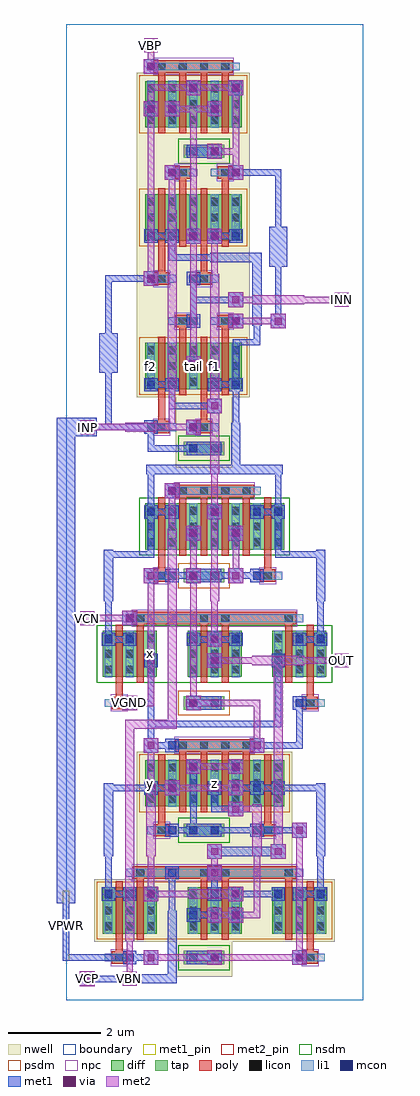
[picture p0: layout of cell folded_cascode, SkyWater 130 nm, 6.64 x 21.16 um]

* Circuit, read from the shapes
.subckt folded_cascode INN INP OUT VBN VBP VCN VCP VGND VPWR f1 f2 tail x y z
XM1 f1 VGND f1 VGND sky130_fd_pr__nfet_01v8 w=1 l=0.15 m=4
XM2 x VCN f1 VGND sky130_fd_pr__nfet_01v8 w=1 l=0.15 m=2
XM3 VGND VBN f1 VGND sky130_fd_pr__nfet_01v8 w=1 l=0.15 m=2
XM4 OUT VCN f2 VGND sky130_fd_pr__nfet_01v8 w=1 l=0.15 m=2
XM5 f2 VBN VGND VGND sky130_fd_pr__nfet_01v8 w=1 l=0.15 m=2
XM6 y VPWR y VPWR sky130_fd_pr__pfet_01v8 w=1 l=0.15 m=4
XM7 x VCP y VPWR sky130_fd_pr__pfet_01v8 w=1 l=0.15 m=2
XM8 f2 VPWR f2 VPWR sky130_fd_pr__pfet_01v8 w=1 l=0.15 m=2
XM9 f1 VPWR f1 VPWR sky130_fd_pr__pfet_01v8 w=1 l=0.15 m=2
XM10 tail VBP VPWR VPWR sky130_fd_pr__pfet_01v8 w=1 l=0.15 m=4
XM11 VPWR x y VPWR sky130_fd_pr__pfet_01v8 w=1 l=0.15 m=2
XM12 tail INN f2 VPWR sky130_fd_pr__pfet_01v8 w=1 l=0.15 m=2
XM13 tail INP f1 VPWR sky130_fd_pr__pfet_01v8 w=1 l=0.15 m=2
XM14 OUT VCP z VPWR sky130_fd_pr__pfet_01v8 w=1 l=0.15 m=2
XM15 z x VPWR VPWR sky130_fd_pr__pfet_01v8 w=1 l=0.15 m=2
.ends

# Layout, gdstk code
import gdstk
lib = gdstk.Library(unit=1e-6, precision=1e-09)
def R(c, l, rs):  # rectangles x0, y0, x1, y1
    for r in rs: c.add(gdstk.rectangle(r[:2], r[2:], *l))
def A(c, l, x, y, w, h, nx, ny, dx, dy):  # array of equal rectangles
    R(c, l, [(x+i*dx, y+j*dy, x+i*dx+w, y+j*dy+h) for i in range(nx) for j in range(ny)])
nwell = (64, 20)
diff = (65, 20)
tap = (65, 44)
poly = (66, 20)
licon = (66, 44)
li1 = (67, 20)
mcon = (67, 44)
met1_pin = (68, 16)
met1 = (68, 20)
via = (68, 44)
met2_pin = (69, 16)
met2 = (69, 20)
nsdm = (93, 44)
psdm = (94, 20)
npc = (95, 20)
boundary = (235, 4)

folded_cascode = lib.new_cell('folded_cascode')
R(folded_cascode, nwell, [(2.375,0.5,3.605,1.26), (0.615,1.26,5.825,2.62), (1.535,2.62,4.905,5.38), (2.375,11.54,3.605,13.065), (1.535,13.065,3.985,20.1)])
A(folded_cascode, diff, 0.795, 1.44, 1.17, 1, 3, 2, 1.84, 5.565)
R(folded_cascode, diff, [(1.715,4.2,4.725,5.2), (1.715,9.765,4.725,10.765), (1.715,13.245,3.805,14.245), (1.715,16.465,3.805,17.465), (1.715,18.92,3.805,19.92)])
A(folded_cascode, tap, 2.555, 0.775, 0.87, 0.29, 1, 5, 0, 2.76)
R(folded_cascode, tap, [(2.555,18.255,3.425,18.545)])
A(folded_cascode, poly, 2.455, 4.07, 0.15, 1.45, 4, 1, 0.46, 0)
A(folded_cascode, poly, 1.905, 9.065, 0.33, 0.27, 1, 3, 0, 3.22)
A(folded_cascode, poly, 2.455, 9.635, 0.15, 1.405, 4, 1, 0.46, 0)
A(folded_cascode, poly, 1.995, 18.79, 0.15, 1.45, 4, 1, 0.46, 0)
R(folded_cascode, poly, [(0.985,0.785,1.315,1.055), (5.125,0.785,5.455,1.055), (1.075,0.92,1.225,2.57), (5.215,0.92,5.365,2.57), (1.535,1.31,1.685,2.76), (2.915,1.31,3.065,2.76), (3.375,1.31,3.525,2.76), (4.755,1.31,4.905,2.76), (1.445,2.625,4.995,2.895), (1.905,3.545,2.235,3.815), (4.205,3.545,4.535,3.815), (1.995,3.68,2.145,5.33), (4.295,3.68,4.445,5.33), (2.365,5.385,4.075,5.655), (0.985,6.305,1.315,6.575), (5.125,6.305,5.455,6.575), (1.075,6.44,1.225,8.135), (5.215,6.44,5.365,8.135), (1.535,6.875,1.685,8.28), (2.915,6.875,3.065,8.28), (3.375,6.875,3.525,8.28), (4.755,6.875,4.905,8.28), (1.445,8.145,4.995,8.415), (4.205,9.065,4.535,9.335), (1.995,9.2,2.145,10.895), (4.295,9.2,4.445,10.895), (2.365,10.905,4.075,11.175), (2.825,12.285,3.155,12.555), (1.995,12.42,2.145,14.375), (2.915,12.42,3.065,14.375), (2.455,13.115,2.605,14.72), (3.375,13.115,3.525,14.72), (2.365,14.585,2.695,14.855), (3.285,14.585,3.615,14.855), (2.825,15.505,3.155,15.775), (1.995,15.64,2.145,17.595), (2.915,15.64,3.065,17.595), (2.455,16.335,2.605,17.94), (3.375,16.335,3.525,17.94), (2.365,17.805,2.695,18.075), (3.285,17.805,3.615,18.075), (1.905,20.105,3.615,20.375)])
A(folded_cascode, licon, 2.675, 0.835, 0.17, 0.17, 1, 5, 0, 2.76)
A(folded_cascode, licon, 3.135, 0.835, 0.17, 0.17, 1, 5, 0, 2.76)
A(folded_cascode, licon, 0.835, 1.515, 0.17, 0.17, 3, 3, 0.46, 0.34)
A(folded_cascode, licon, 2.675, 1.515, 0.17, 0.17, 3, 3, 0.46, 0.34)
A(folded_cascode, licon, 4.515, 1.515, 0.17, 0.17, 3, 3, 0.46, 0.34)
A(folded_cascode, licon, 1.755, 4.275, 0.17, 0.17, 7, 3, 0.46, 0.34)
A(folded_cascode, licon, 2.445, 5.435, 0.17, 0.17, 4, 2, 0.46, 5.52)
A(folded_cascode, licon, 0.835, 7.08, 0.17, 0.17, 3, 3, 0.46, 0.34)
A(folded_cascode, licon, 2.675, 7.08, 0.17, 0.17, 3, 3, 0.46, 0.34)
A(folded_cascode, licon, 4.515, 7.08, 0.17, 0.17, 3, 3, 0.46, 0.34)
A(folded_cascode, licon, 1.985, 9.115, 0.17, 0.17, 1, 3, 0, 3.22)
A(folded_cascode, licon, 1.755, 9.84, 0.17, 0.17, 7, 3, 0.46, 0.34)
A(folded_cascode, licon, 1.755, 13.32, 0.17, 0.17, 5, 3, 0.46, 0.34)
A(folded_cascode, licon, 1.755, 16.54, 0.17, 0.17, 5, 3, 0.46, 0.34)
A(folded_cascode, licon, 1.755, 18.995, 0.17, 0.17, 5, 3, 0.46, 0.34)
A(folded_cascode, licon, 1.985, 20.155, 0.17, 0.17, 4, 1, 0.46, 0)
R(folded_cascode, licon, [(1.065,0.835,1.235,1.005), (5.205,0.835,5.375,1.005), (1.525,2.675,1.695,2.845), (2.905,2.675,3.075,2.845), (3.365,2.675,3.535,2.845), (4.745,2.675,4.915,2.845), (1.985,3.595,2.155,3.765), (4.285,3.595,4.455,3.765), (1.065,6.355,1.235,6.525), (5.205,6.355,5.375,6.525), (1.525,8.195,1.695,8.365), (2.905,8.195,3.075,8.365), (3.365,8.195,3.535,8.365), (4.745,8.195,4.915,8.365), (4.285,9.115,4.455,9.285), (2.905,12.335,3.075,12.505), (2.445,14.635,2.615,14.805), (3.365,14.635,3.535,14.805), (2.905,15.555,3.075,15.725), (2.445,17.855,2.615,18.025), (3.365,17.855,3.535,18.025), (2.675,18.315,2.845,18.485), (3.135,18.315,3.305,18.485)])
A(folded_cascode, li1, 2.595, 0.835, 0.79, 0.17, 1, 5, 0, 2.76)
A(folded_cascode, li1, 0.835, 1.435, 0.17, 1.01, 3, 2, 0.46, 5.565)
A(folded_cascode, li1, 2.675, 1.435, 0.17, 1.01, 3, 2, 0.46, 5.565)
A(folded_cascode, li1, 4.515, 1.435, 0.17, 1.01, 3, 2, 0.46, 5.565)
A(folded_cascode, li1, 1.755, 4.195, 0.17, 1.01, 7, 2, 0.46, 5.565)
A(folded_cascode, li1, 1.755, 9.115, 0.63, 0.17, 1, 3, 0, 3.22)
A(folded_cascode, li1, 1.755, 13.24, 0.17, 1.01, 5, 2, 0.46, 3.22)
A(folded_cascode, li1, 1.755, 18.915, 0.17, 1.01, 5, 1, 0.46, 0)
R(folded_cascode, li1, [(0.835,0.835,1.465,1.005), (4.975,0.835,5.605,1.005), (1.295,2.675,5.145,2.845), (1.755,3.595,2.385,3.765), (4.055,3.595,4.685,3.765), (2.215,5.435,4.225,5.605), (0.835,6.355,1.465,6.525), (4.975,6.355,5.605,6.525), (1.295,8.195,5.145,8.365), (4.055,9.115,4.685,9.285), (2.215,10.955,4.225,11.125), (2.675,12.335,3.305,12.505), (2.215,14.635,2.845,14.805), (3.135,14.635,3.765,14.805), (2.675,15.555,3.305,15.725), (2.215,17.855,2.845,18.025), (3.135,17.855,3.765,18.025), (2.595,18.315,3.385,18.485), (1.755,20.155,3.765,20.325)])
A(folded_cascode, mcon, 0.835, 2.215, 0.17, 0.17, 3, 1, 0.46, 0)
A(folded_cascode, mcon, 4.515, 2.215, 0.17, 0.17, 3, 1, 0.46, 0)
A(folded_cascode, mcon, 2.215, 3.595, 0.17, 0.17, 3, 2, 0.46, 5.52)
A(folded_cascode, mcon, 2.215, 4.515, 0.17, 0.17, 3, 2, 0.92, 5.98)
A(folded_cascode, mcon, 2.675, 4.975, 0.17, 0.17, 1, 3, 0, 1.38)
A(folded_cascode, mcon, 1.755, 7.275, 0.17, 0.17, 3, 1, 1.38, 0)
A(folded_cascode, mcon, 2.675, 13.715, 0.17, 0.17, 1, 3, 0, 0.92)
A(folded_cascode, mcon, 1.755, 16.475, 0.17, 0.17, 5, 1, 0.46, 0)
R(folded_cascode, mcon, [(1.295,0.835,1.465,1.005), (2.675,0.835,2.845,1.005), (3.135,0.835,3.305,1.005), (4.975,0.835,5.145,1.005), (2.675,1.755,2.845,1.925), (3.595,1.755,3.765,1.925), (3.135,2.215,3.305,2.385), (2.215,2.675,2.385,2.845), (4.055,3.595,4.225,3.765), (1.755,4.515,1.925,4.685), (4.515,4.515,4.685,4.685), (3.595,4.975,3.765,5.145), (2.215,5.435,2.385,5.605), (1.295,6.355,1.465,6.525), (3.135,6.355,3.305,6.525), (4.975,6.355,5.145,6.525), (0.835,7.735,1.005,7.905), (1.295,7.735,1.465,7.905), (3.595,7.735,3.765,7.905), (4.975,7.735,5.145,7.905), (5.435,7.735,5.605,7.905), (1.295,8.195,1.465,8.365), (4.055,9.115,4.225,9.285), (2.675,10.035,2.845,10.205), (3.595,10.035,3.765,10.205), (1.755,10.495,1.925,10.665), (4.515,10.495,4.685,10.665), (2.215,10.955,2.385,11.125), (2.675,11.875,2.845,12.045), (3.135,11.875,3.305,12.045), (1.755,12.335,1.925,12.505), (2.675,12.335,2.845,12.505), (1.755,13.255,1.925,13.425), (2.215,13.255,2.385,13.425), (3.135,13.255,3.305,13.425), (3.595,13.255,3.765,13.425), (3.595,14.635,3.765,14.805), (1.755,15.555,1.925,15.725), (2.215,17.855,2.385,18.025), (3.595,17.855,3.765,18.025), (2.675,18.315,2.845,18.485), (3.135,18.315,3.305,18.485), (1.755,19.235,1.925,19.405), (2.215,19.235,2.385,19.405), (3.135,19.235,3.305,19.405), (2.675,19.695,2.845,19.865), (3.595,19.695,3.765,19.865), (1.755,20.155,1.925,20.325)])
R(folded_cascode, met1_pin, [(-0.07,0.85,0.07,2.37), (1.235,6.295,1.525,6.585)])
A(folded_cascode, met1, 3.06, 0.76, 0.32, 0.32, 1, 3, 0, 0.92)
A(folded_cascode, met1, 2.615, 0.775, 0.75, 0.29, 1, 5, 0, 2.76)
A(folded_cascode, met1, 0.775, 2.155, 0.29, 0.29, 3, 1, 0.46, 0)
A(folded_cascode, met1, 4.455, 2.155, 0.29, 0.29, 3, 1, 0.46, 0)
A(folded_cascode, met1, 2.69, 3.61, 0.14, 0.14, 1, 4, 0, 2.76)
A(folded_cascode, met1, 3.52, 3.98, 0.32, 0.32, 1, 3, 0, 0.46)
A(folded_cascode, met1, 2.155, 4.455, 0.29, 0.29, 3, 2, 0.92, 5.98)
A(folded_cascode, met1, 1.695, 7.215, 0.29, 0.29, 3, 1, 1.38, 0)
A(folded_cascode, met1, 2.615, 7.675, 0.29, 0.29, 1, 3, 0, 2.3)
A(folded_cascode, met1, 1.68, 9.04, 0.32, 0.32, 3, 1, 0.92, 0)
A(folded_cascode, met1, 2.615, 13.655, 0.29, 0.29, 1, 3, 0, 0.92)
A(folded_cascode, met1, 1.695, 16.415, 0.29, 0.29, 5, 1, 0.46, 0)
R(folded_cascode, met1, [(0.3,0.3,0.62,0.62), (1.28,0.36,2.4,0.56), (2.2,0.36,2.4,1.94), (0.39,0.39,1.45,0.53), (1.68,0.76,2,1.08), (4.9,0.76,5.22,1.08), (1.235,0.775,1.525,1.065), (4.915,0.775,5.205,1.065), (-0.07,0.85,0.07,2.37), (-0.07,0.85,1.45,0.99), (1.31,0.85,1.91,0.99), (3.15,0.85,3.29,0.99), (3.52,1.68,3.84,2), (2.615,1.695,2.905,1.985), (3.535,1.695,3.825,1.985), (2.23,1.77,2.37,2.83), (2.69,1.77,3.29,1.91), (-0.2,2.1,0.2,12.62), (1.68,2.14,2,2.46), (3.52,2.14,3.84,2.46), (3.075,2.155,3.365,2.445), (0.85,2.23,0.99,3.29), (0.85,2.23,1.45,2.37), (3.15,2.23,3.29,2.83), (3.61,2.23,4.67,2.37), (4.99,2.23,5.59,2.37), (5.45,2.23,5.59,3.29), (2.155,2.615,2.445,2.905), (3.06,3.06,3.38,3.38), (4.44,3.06,4.76,3.38), (0.82,3.12,1.02,4.7), (3.12,3.12,4.7,3.32), (5.42,3.12,5.62,4.7), (4.9,3.52,5.22,3.84), (2.155,3.535,2.445,3.825), (3.995,3.535,4.285,3.825), (2.23,3.61,2.83,3.75), (2.69,3.61,2.83,5.13), (2.69,3.61,4.21,3.75), (4.07,3.61,5.13,3.75), (3.15,4.07,3.75,4.21), (3.15,4.07,3.29,4.67), (2.14,4.44,2.46,4.76), (1.695,4.455,1.985,4.745), (4.455,4.455,4.745,4.745), (0.85,4.53,1.91,4.67), (1.77,4.53,2.37,4.67), (3.61,4.53,4.21,4.67), (4.07,4.53,4.67,4.67), (4.53,4.53,5.59,4.67), (2.6,4.9,2.92,5.22), (2.615,4.915,2.905,5.205), (3.535,4.915,3.825,5.205), (1.68,5.36,2,5.68), (3.98,5.36,4.3,5.68), (2.155,5.375,2.445,5.665), (1.77,5.45,2.37,5.59), (1.77,5.45,1.91,7.43), (4.07,5.45,5.13,5.59), (4.99,5.45,5.13,6.51), (1.77,5.91,4.67,6.05), (4.53,5.91,4.67,7.43), (1.22,6.28,1.54,6.6), (2.6,6.28,2.92,6.6), (1.235,6.295,1.525,6.585), (4.915,6.295,5.205,6.585), (3.06,7.2,3.38,7.52), (3.06,7.66,3.38,7.98), (0.775,7.675,1.065,7.965), (1.235,7.675,1.525,7.965), (3.535,7.675,3.825,7.965), (4.915,7.675,5.205,7.965), (5.375,7.675,5.665,7.965), (0.85,7.75,0.99,8.81), (0.85,7.75,1.45,7.89), (2.69,7.75,3.29,7.89), (3.15,7.75,3.75,7.89), (4.99,7.75,5.59,7.89), (5.45,7.75,5.59,8.81), (1.22,8.12,1.54,8.44), (1.235,8.135,1.525,8.425), (0.82,8.64,1.02,9.76), (5.42,8.64,5.62,9.76), (2.155,9.055,2.445,9.345), (3.995,9.055,4.285,9.345), (1.77,9.13,2.37,9.27), (2.23,9.13,2.83,9.27), (2.69,9.13,4.21,9.27), (0.85,9.59,1.91,9.73), (1.77,9.59,1.91,10.65), (4.53,9.59,4.67,10.65), (4.53,9.59,5.59,9.73), (2.6,9.96,2.92,10.28), (3.52,9.96,3.84,10.28), (3.535,9.975,3.825,10.265), (3.06,10.42,3.38,10.74), (1.695,10.435,1.985,10.725), (4.455,10.435,4.745,10.725), (1.77,10.51,1.91,11.57), (1.77,10.51,2.37,10.65), (4.07,10.51,4.67,10.65), (4.53,10.51,4.67,11.57), (2.14,10.88,2.46,11.2), (2.155,10.895,2.445,11.185), (1.74,11.4,3.78,11.6), (3.58,11.4,4.7,11.6), (3.58,11.4,3.78,12.52), (1.77,11.89,2.83,12.03), (1.77,11.89,1.91,12.49), (-0.2,12.22,0.66,12.62), (2.6,12.26,2.92,12.58), (1.695,12.275,1.985,12.565), (0.39,12.35,1.91,12.49), (0.85,12.35,0.99,13.87), (3.61,12.35,3.75,13.41), (3.06,12.72,3.38,13.04), (2.23,12.81,3.29,12.95), (2.23,12.81,2.37,13.41), (1.695,13.195,1.985,13.485), (2.155,13.195,2.445,13.485), (3.075,13.195,3.365,13.485), (3.535,13.195,3.825,13.485), (1.77,13.27,2.37,13.41), (3.15,13.27,3.75,13.41), (3.61,13.27,3.75,14.33), (0.72,13.6,1.12,14.46), (2.6,13.64,2.92,13.96), (0.85,14.19,0.99,15.71), (3.61,14.19,4.21,14.33), (4.07,14.19,4.21,14.79), (3.52,14.56,3.84,14.88), (4.44,14.56,4.76,14.88), (3.535,14.575,3.825,14.865), (4.04,14.62,4.24,16.2), (2.69,14.65,2.83,15.71), (4.53,14.65,4.67,16.17), (3.52,15.02,3.84,15.34), (2.69,15.11,3.75,15.25), (1.68,15.48,2,15.8), (1.695,15.495,1.985,15.785), (0.85,15.57,1.91,15.71), (4.4,15.9,4.8,16.76), (3.12,16,4.24,16.2), (2.23,16.03,3.29,16.17), (2.23,16.03,2.37,16.63), (2.6,16.4,2.92,16.72), (3.06,16.4,3.38,16.72), (1.77,16.49,2.37,16.63), (3.15,16.49,3.75,16.63), (4.53,16.49,4.67,18.01), (2.14,17.78,2.46,18.1), (3.52,17.78,3.84,18.1), (2.155,17.795,2.445,18.085), (3.535,17.795,3.825,18.085), (3.61,17.87,4.67,18.01), (3.06,18.24,3.38,18.56), (2.615,18.255,3.365,18.545), (3.15,18.33,3.29,18.47), (1.68,19.16,2,19.48), (2.14,19.16,2.46,19.48), (3.06,19.16,3.38,19.48), (1.695,19.175,1.985,19.465), (2.155,19.175,2.445,19.465), (3.075,19.175,3.365,19.465), (2.6,19.62,2.92,19.94), (3.52,19.62,3.84,19.94), (2.615,19.635,2.905,19.925), (3.535,19.635,3.825,19.925), (1.68,20.08,2,20.4), (1.695,20.095,1.985,20.385)])
A(folded_cascode, via, 3.145, 0.845, 0.15, 0.15, 1, 3, 0, 0.92)
A(folded_cascode, via, 3.605, 4.065, 0.15, 0.15, 1, 3, 0, 0.46)
A(folded_cascode, via, 1.765, 9.125, 0.15, 0.15, 3, 1, 0.92, 0)
R(folded_cascode, via, [(0.385,0.385,0.535,0.535), (1.765,0.845,1.915,0.995), (4.985,0.845,5.135,0.995), (3.605,1.765,3.755,1.915), (1.765,2.225,1.915,2.375), (3.605,2.225,3.755,2.375), (3.145,3.145,3.295,3.295), (4.525,3.145,4.675,3.295), (4.985,3.605,5.135,3.755), (2.225,4.525,2.375,4.675), (2.685,4.985,2.835,5.135), (1.765,5.445,1.915,5.595), (4.065,5.445,4.215,5.595), (1.305,6.365,1.455,6.515), (2.685,6.365,2.835,6.515), (3.145,7.285,3.295,7.435), (3.145,7.745,3.295,7.895), (1.305,8.205,1.455,8.355), (2.685,10.045,2.835,10.195), (3.605,10.045,3.755,10.195), (3.145,10.505,3.295,10.655), (2.225,10.965,2.375,11.115), (2.685,12.345,2.835,12.495), (3.145,12.805,3.295,12.955), (2.685,13.725,2.835,13.875), (3.605,14.645,3.755,14.795), (4.525,14.645,4.675,14.795), (3.605,15.105,3.755,15.255), (1.765,15.565,1.915,15.715), (2.685,16.485,2.835,16.635), (3.145,16.485,3.295,16.635), (2.225,17.865,2.375,18.015), (3.605,17.865,3.755,18.015), (3.145,18.325,3.295,18.475), (1.765,19.245,1.915,19.395), (2.225,19.245,2.375,19.395), (3.145,19.245,3.295,19.395), (2.685,19.705,2.835,19.855), (3.605,19.705,3.755,19.855), (1.765,20.165,1.915,20.315)])
R(folded_cascode, met2_pin, [(0.31,0.31,0.61,0.61), (1.23,0.31,1.53,0.61), (5.83,7.21,6.13,7.51), (0.31,8.13,0.61,8.43), (0.31,12.27,0.61,12.57), (5.83,15.03,6.13,15.33), (1.69,20.55,1.99,20.85)])
A(folded_cascode, met2, 3.06, 0.76, 0.32, 0.32, 1, 3, 0, 0.92)
A(folded_cascode, met2, 3.52, 3.98, 0.32, 0.32, 1, 3, 0, 0.46)
A(folded_cascode, met2, 1.68, 9.04, 0.32, 0.32, 3, 1, 0.92, 0)
R(folded_cascode, met2, [(0.3,0.3,0.62,0.62), (0.31,0.31,0.61,0.61), (1.23,0.31,1.53,0.61), (0.39,0.39,0.53,0.53), (1.31,0.39,1.45,1.45), (1.31,0.39,1.45,0.53), (1.68,0.76,2,1.08), (4.9,0.76,5.22,1.08), (1.77,0.85,3.29,0.99), (3.15,0.85,5.13,0.99), (4.99,0.85,5.13,3.75), (1.28,1.28,1.48,6.08), (3.52,1.68,3.84,2), (3.15,1.77,3.75,1.91), (3.61,1.77,4.21,1.91), (4.07,1.77,4.21,3.29), (1.68,2.14,2,2.46), (3.52,2.14,3.84,2.46), (2.66,2.2,3.78,2.4), (1.77,2.23,1.91,3.29), (1.77,2.23,2.83,2.37), (3.15,2.69,3.29,3.29), (3.06,3.06,3.38,3.38), (4.44,3.06,4.76,3.38), (1.74,3.12,1.94,4.7), (4.04,3.12,4.24,4.24), (4.5,3.12,4.7,7.46), (4.9,3.52,5.22,3.84), (3.61,4.07,4.21,4.21), (2.14,4.44,2.46,4.76), (1.77,4.53,1.91,5.59), (2.23,4.53,3.75,4.67), (2.6,4.9,2.92,5.22), (2.69,4.99,3.75,5.13), (1.68,5.36,2,5.68), (3.98,5.36,4.3,5.68), (4.07,5.45,4.21,6.51), (1.28,5.88,2.4,6.08), (2.2,5.88,2.4,10.22), (1.22,6.28,1.54,6.6), (2.6,6.28,2.92,6.6), (1.31,6.37,1.91,6.51), (1.77,6.37,1.91,9.27), (2.69,6.37,4.21,6.51), (2.69,6.37,2.83,9.27), (3.06,7.2,3.38,7.52), (5.83,7.21,6.13,7.51), (4.04,7.26,5.16,7.46), (3.15,7.29,4.21,7.43), (4.99,7.29,6.05,7.43), (5.91,7.29,6.05,7.43), (3.06,7.66,3.38,7.98), (3.15,7.75,3.29,8.81), (1.22,8.12,1.54,8.44), (0.31,8.13,0.61,8.43), (0.39,8.21,1.45,8.35), (0.39,8.21,0.53,8.35), (3.12,8.64,3.32,9.3), (2.69,9.13,2.83,10.19), (3.15,9.13,3.29,10.65), (3.61,9.13,3.75,10.19), (2.6,9.96,2.92,10.28), (3.52,9.96,3.84,10.28), (2.23,10.05,2.37,11.11), (3.06,10.42,3.38,10.74), (3.15,10.51,3.29,11.57), (2.14,10.88,2.46,11.2), (3.12,11.4,3.32,12.98), (2.6,12.26,2.92,12.58), (0.31,12.27,0.61,12.57), (1.28,12.32,1.94,12.52), (0.39,12.35,1.45,12.49), (0.39,12.35,0.53,12.49), (1.77,12.35,2.83,12.49), (2.23,12.35,2.37,13.41), (3.06,12.72,3.38,13.04), (3.12,12.78,3.32,15.74), (2.2,13.24,2.4,17.12), (2.6,13.64,2.92,13.96), (2.69,13.73,2.83,16.63), (3.52,14.56,3.84,14.88), (4.44,14.56,4.76,14.88), (3.61,14.65,4.67,14.79), (3.52,15.02,3.84,15.34), (5.83,15.03,6.13,15.33), (4.04,15.08,5.16,15.28), (3.61,15.11,4.21,15.25), (4.99,15.11,6.05,15.25), (5.91,15.11,6.05,15.25), (1.68,15.48,2,15.8), (1.77,15.57,1.91,19.39), (3.15,15.57,3.29,16.63), (2.6,16.4,2.92,16.72), (3.06,16.4,3.38,16.72), (2.69,16.49,2.83,19.39), (2.23,16.95,2.37,18.01), (2.14,17.78,2.46,18.1), (3.52,17.78,3.84,18.1), (3.61,17.87,3.75,19.85), (3.06,18.24,3.38,18.56), (3.15,18.33,3.75,18.47), (1.68,19.16,2,19.48), (2.14,19.16,2.46,19.48), (3.06,19.16,3.38,19.48), (1.77,19.25,1.91,19.85), (2.23,19.25,2.83,19.39), (2.69,19.25,3.29,19.39), (2.6,19.62,2.92,19.94), (3.52,19.62,3.84,19.94), (1.77,19.71,2.83,19.85), (2.69,19.71,3.75,19.85), (1.68,20.08,2,20.4), (1.77,20.17,1.91,20.77), (1.69,20.55,1.99,20.85), (1.77,20.63,1.91,20.77)])
R(folded_cascode, nsdm, [(2.43,0.65,3.55,1.19), (2.43,3.41,3.55,3.95), (0.67,6.88,5.77,8.13), (1.59,9.64,4.85,10.89), (2.43,11.69,3.55,12.23), (2.43,18.13,3.55,18.67)])
R(folded_cascode, psdm, [(0.67,1.315,5.77,2.565), (1.59,4.075,4.85,5.325), (2.43,6.17,3.55,6.71), (2.43,8.93,3.55,9.47), (1.59,13.12,3.93,14.37), (1.59,16.34,3.93,17.59), (1.59,18.795,3.93,20.045)])
A(folded_cascode, npc, 1.885, 9.015, 0.37, 0.37, 1, 3, 0, 3.22)
R(folded_cascode, npc, [(0.965,0.735,1.335,1.105), (5.105,0.735,5.475,1.105), (1.425,2.575,5.015,2.945), (1.885,3.495,2.255,3.865), (4.185,3.495,4.555,3.865), (2.345,5.335,4.095,5.705), (0.965,6.255,1.335,6.625), (5.105,6.255,5.475,6.625), (1.425,8.095,5.015,8.465), (4.185,9.015,4.555,9.385), (2.345,10.855,4.095,11.225), (2.805,12.235,3.175,12.605), (2.345,14.535,2.715,14.905), (3.265,14.535,3.635,14.905), (2.805,15.455,3.175,15.825), (2.345,17.755,2.715,18.125), (3.265,17.755,3.635,18.125), (1.885,20.055,3.635,20.425)])
R(folded_cascode, boundary, [(0,0,6.44,21.16)])
folded_cascode.add(gdstk.Label('f2', (1.84,13.745), layer=67, texttype=5))
folded_cascode.add(gdstk.Label('tail', (2.76,13.745), layer=67, texttype=5))
folded_cascode.add(gdstk.Label('f1', (3.22,13.745), layer=67, texttype=5))
folded_cascode.add(gdstk.Label('x', (1.84,7.505), layer=67, texttype=5))
folded_cascode.add(gdstk.Label('y', (1.84,4.7), layer=67, texttype=5))
folded_cascode.add(gdstk.Label('z', (3.22,4.7), layer=67, texttype=5))
folded_cascode.add(gdstk.Label('VPWR', (0,1.61), layer=68, texttype=5))
folded_cascode.add(gdstk.Label('VGND', (1.38,6.44), layer=68, texttype=5))
folded_cascode.add(gdstk.Label('INP', (0.46,12.42), layer=69, texttype=5))
folded_cascode.add(gdstk.Label('INN', (5.98,15.18), layer=69, texttype=5))
folded_cascode.add(gdstk.Label('VBP', (1.84,20.7), layer=69, texttype=5))
folded_cascode.add(gdstk.Label('VBN', (1.38,0.46), layer=69, texttype=5))
folded_cascode.add(gdstk.Label('VCN', (0.46,8.28), layer=69, texttype=5))
folded_cascode.add(gdstk.Label('VCP', (0.46,0.46), layer=69, texttype=5))
folded_cascode.add(gdstk.Label('OUT', (5.98,7.36), layer=69, texttype=5))
folded_cascode.add(gdstk.Label('VPWR', (0,1.61), layer=68, texttype=16))
folded_cascode.add(gdstk.Label('VGND', (1.38,6.44), layer=68, texttype=16))
folded_cascode.add(gdstk.Label('INP', (0.46,12.42), layer=69, texttype=16))
folded_cascode.add(gdstk.Label('INN', (5.98,15.18), layer=69, texttype=16))
folded_cascode.add(gdstk.Label('VBP', (1.84,20.7), layer=69, texttype=16))
folded_cascode.add(gdstk.Label('VBN', (1.38,0.46), layer=69, texttype=16))
folded_cascode.add(gdstk.Label('VCN', (0.46,8.28), layer=69, texttype=16))
folded_cascode.add(gdstk.Label('VCP', (0.46,0.46), layer=69, texttype=16))
folded_cascode.add(gdstk.Label('OUT', (5.98,7.36), layer=69, texttype=16))

lib.write_gds('folded_cascode.gds')
